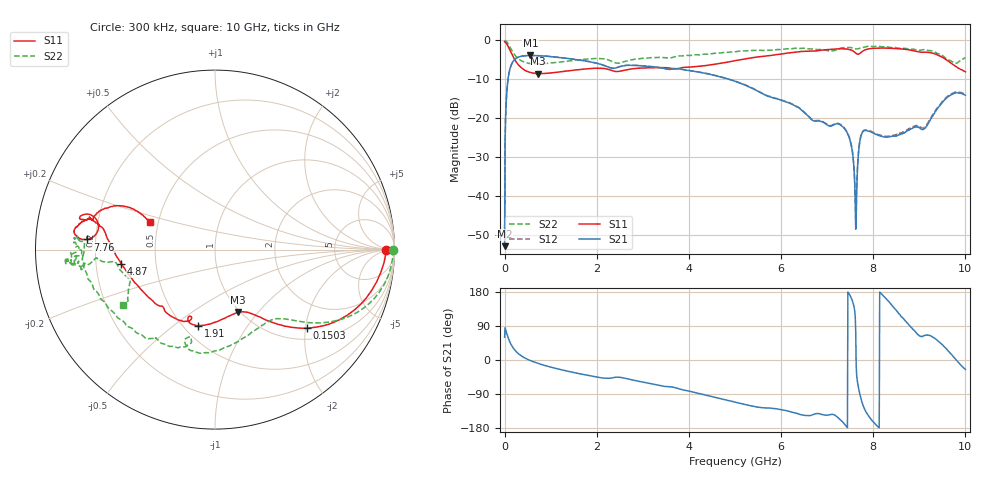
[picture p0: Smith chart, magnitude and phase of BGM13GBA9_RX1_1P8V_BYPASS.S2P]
!Agilent Technologies,E5071C,MY46316587,B.13.01
!Date: Wed Dec 06 12:11:01 2017
!Data & Calibration Information:
!Freq	S11:SOLT2(ON)	S21:SOLT2(ON)	S12:SOLT2(ON)	S22:SOLT2(ON)
!PortZ  Port1:50+j0  Port2:50+j0
!Above PortZ is port z conversion or system Z0 setting when saving the data.
!When reading, reference impedance value at option line is always used.
# Hz S RI R 50
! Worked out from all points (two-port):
!   1001 points, 300 kHz to 10 GHz, reference 50 ohm
!   highest |S21| = -3.92 dB at 560.3 MHz (marker M1); lowest = -52.9 dB at 300 kHz (marker M2)
!   |S21| within 3 dB of the highest: 127.4 MHz to 2.252 GHz (2.125 GHz wide, 179 % of centre); 2.468 GHz to 3.286 GHz (817.9 MHz wide, 28.4 % of centre)
!   lowest |S11| = -8.6 dB at 730.3 MHz (marker M3), VSWR 2.18, Z = 48.9 - j39.5 ohm
!   |S11| at or under -10 dB: nowhere
!   |S22| runs from -6.1 to -0.1 dB; largest |S21 - S12| = 0.0073
!   S11 on the Smith chart (normalised r, x): 300 kHz: 44, -2; 150.3 MHz: 1.27, -2.04; 1.91 GHz: 0.59, -0.62; 4.87 GHz: 0.31, -0.07; 7.76 GHz: 0.17, +0.04; 10 GHz: 0.45, +0.17
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300000  0.9552 -0.00201  0.00113 0.00196  -0.00235 0.00178  0.9918 -0.00183
6.02982e7  0.8097 -0.3069  0.1116 0.2392  0.1119 0.2402  0.8886 -0.2709
1.502955e8  0.5124 -0.438  0.3818 0.3076  0.3824 0.3081  0.6301 -0.4045
3.00291e8  0.2821 -0.3916  0.5804 0.1721  0.5808 0.1726  0.4247 -0.3919
5.602832e8  0.1655 -0.3475  0.6362 -0.0174  0.6378 -0.0177  0.3073 -0.395
7.302781e8  0.128 -0.3482  0.6232 -0.1009  0.6248 -0.1014  0.2614 -0.4225
1.67025e9  -0.0498 -0.4192  0.4378 -0.3331  0.439 -0.3341  0.00958 -0.5623
1.910243e9  -0.0939 -0.4237  0.3802 -0.3542  0.3815 -0.3559  -0.0605 -0.5745
3.3402e9  -0.2435 -0.3715  0.1769 -0.4093  0.177 -0.4105  -0.2962 -0.5229
4.870154e9  -0.5215 -0.0801  -0.0938 -0.2998  -0.0949 -0.3009  -0.6611 -0.2319
5.00015e9  -0.5431 -0.0454  -0.1074 -0.2772  -0.1084 -0.2786  -0.6814 -0.2003
6.6701e9  -0.7006 0.1774  -0.0778 -0.0541  -0.0791 -0.0543  -0.7676 0.0759
7.400078e9  -0.7505 0.1867  -0.0693 -0.00926  -0.0708 -0.00884  -0.8006 -0.0259
7.520074e9  -0.7207 0.1975  -0.0439 0.0123  -0.0451 0.0125  -0.802 -0.0238
7.620071e9  -0.662 0.1692  0.00105 0.00359  0.00162 0.00384  -0.7723 -0.0168
7.66007e9  -0.6487 0.1269  0.0121 -0.0205  0.0123 -0.0211  -0.7713 -0.0369
7.710069e9  -0.6714 0.0767  -0.000371 -0.0504  -0.000633 -0.0514  -0.7853 -0.0751
7.760067e9  -0.7118 0.0568  -0.0252 -0.0598  -0.0258 -0.0606  -0.7982 -0.0835
8.34005e9  -0.7794 0.1182  -0.0513 0.0247  -0.0526 0.0255  -0.8085 -0.0727
9.110027e9  -0.6798 0.169  0.0318 0.0655  0.0339 0.0682  -0.7473 -0.1106
9.600012e9  -0.498 0.2402  0.1626 0.0847  0.1673 0.0859  -0.5637 -0.0667
1e10  -0.3609 0.1557  0.178 -0.0827  0.1825 -0.0856  -0.5112 -0.3114
